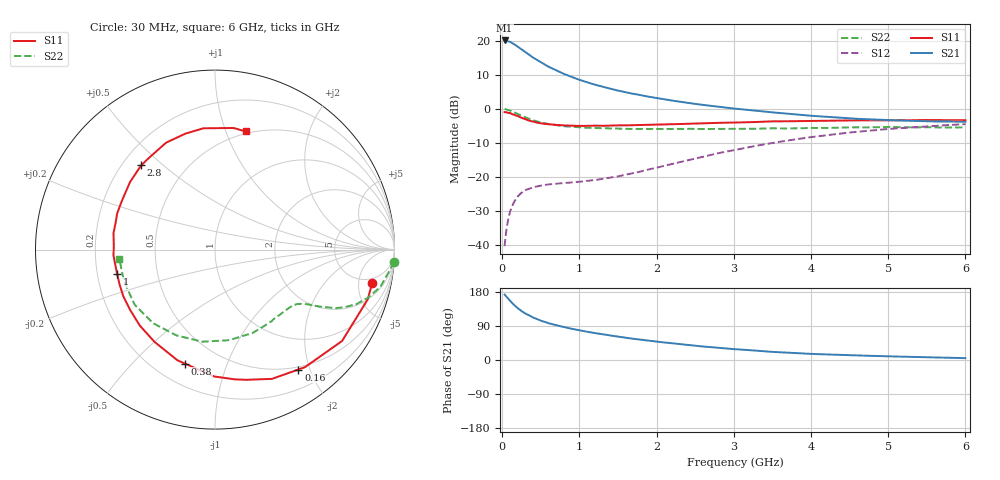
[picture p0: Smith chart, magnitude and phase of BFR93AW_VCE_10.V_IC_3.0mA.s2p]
! Infineon Technologies  Discrete & RF Semiconductors
! BFR93AW
! VCE =  10. V,  IC =  3.0 mA
! Common Emitter S-Parameters:  Nov 2015
# GHz  S  MA  R  50
!  f  S11  S21  S12  S22
! GHz  MAG  ANG  MAG  ANG  MAG  ANG  MAG  ANG
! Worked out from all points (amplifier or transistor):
!   206 points, 30 MHz to 6 GHz, reference 50 ohm
!   highest |S21| = 20.1 dB at 30 MHz (marker M1)
!   |S21| within 3 dB of that: start of sweep to 273 MHz
!   unconditionally stable (mu >= 1): 1.109 GHz to 2.242 GHz
!   at 200 MHz: K = 0.21, MSG = 22.0 dB, |S12| = -25.8 dB
!   at 1.56 GHz: K = 1.12, MAG = 10.2 dB, |S12| = -19.5 dB
!   at 6 GHz: K = 0.94, MSG = 0.3 dB, |S12| = -4.5 dB
!   S11 on the Smith chart (normalised r, x): 30 MHz: 4.01, -7.48; 160 MHz: 0.46, -1.82; 380 MHz: 0.32, -0.72; 1 GHz: 0.28, -0.11; 2.8 GHz: 0.28, +0.42; 6 GHz: 0.48, +1.18
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0.03  0.8956 -11.9  10.12 172.7  0.0096 79.9  0.9983 -4.0
0.05  0.8949 -18.1  10.06 167.7  0.0157 77.8  0.9816 -6.6
0.1  0.8721 -35.7  9.671 156.4  0.0308 70.6  0.9453 -12.6
0.15  0.8248 -52.6  8.977 145.7  0.0424 63.3  0.8946 -17.4
0.16  0.8137 -55.2  8.814 144.0  0.0442 62.0  0.884 -18.1
0.2  0.7871 -66.2  8.241 136.8  0.0515 57.6  0.8431 -21.2
0.26  0.731 -81.4  7.34 127.7  0.0598 51.3  0.7829 -24.3
0.3  0.7067 -90.4  6.813 122.5  0.0641 48.7  0.7489 -25.8
0.38  0.6568 -104.8  5.874 114.3  0.0691 44.5  0.6924 -27.6
0.4  0.6514 -108.7  5.662 111.9  0.0704 43.6  0.6784 -28.1
0.5  0.6146 -123.3  4.823 103.7  0.0747 40.8  0.6299 -29.6
0.6  0.5955 -134.7  4.156 97.1  0.0776 40.0  0.5982 -30.6
0.8  0.5732 -153.0  3.257 86.7  0.0813 41.0  0.5557 -33.0
1  0.5618 -166.1  2.67 78.3  0.0848 44.7  0.5356 -35.4
1.04  0.5615 -168.5  2.582 76.8  0.0859 45.6  0.5322 -36.2
1.5  0.573 170.7  1.853 61.7  0.1019 57.4  0.5128 -44.9
2.02  0.5856 152.3  1.428 47.9  0.1385 67.3  0.5064 -57.0
2.8  0.6238 131.2  1.075 32.2  0.2235 70.6  0.5078 -77.2
3.1  0.6326 123.7  0.985 27.4  0.2604 68.8  0.5087 -85.3
4.1  0.6678 102.6  0.778 15.4  0.3967 58.1  0.5235 -117.5
5.1  0.6784 86.6  0.677 9.2  0.5154 43.3  0.5387 -148.6
6  0.6801 75.4  0.647 4.9  0.5972 30.6  0.5356 -174.4
